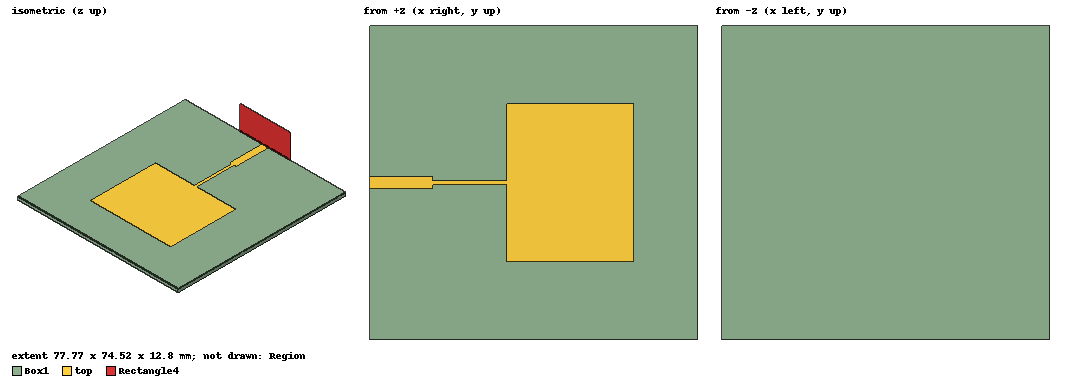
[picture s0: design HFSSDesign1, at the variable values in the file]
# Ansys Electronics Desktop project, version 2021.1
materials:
  vacuum: permittivity=1
  FR4_epoxy: permittivity=4.4 dielectric_loss_tangent=0.02

design HFSSDesign1 (HFSS, DrivenModal, model units mm)
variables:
  l0 = 30.21mm
  l2 = 15mm
  l1 = 17.45mm
  h = 1.6mm
  w0 = 37.26mm
  w1 = 1.16mm
  w2 = 2.98mm
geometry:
  Box1 [FR4_epoxy] = box(corner=(0mm, -w0, 0mm), size=(l1+l2+l0*1.5, w0*2, -h))
  top = rectangle(corner=(0mm, -w2/2, 0mm), x_size=l2, y_size=w2)
  Rectangle2 = rectangle(corner=(l2, -w1/2, 0mm), x_size=l1, y_size=w1)
  Rectangle3 = rectangle(corner=(l1+l2, -w0/2, 0mm), x_size=l0, y_size=w0)
  top.unite(Rectangle2, Rectangle3)
  Rectangle4 = rectangle(corner=(0mm, -4*w2, -h), y_size=w2*8, z_size=h*8)
  Region [vacuum] = region(absolute_offset: +X=30mm, -X=0mm, +Y=30mm, -Y=30mm, +Z=30mm, -Z=0mm)
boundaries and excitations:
  Rad1: Radiation Objects=Region
  PerfE1: Perfect E Objects=top
  PerfE2: Perfect E Faces=Box1.face(-z)
  1: Wave Port Objects=Rectangle4 NumModes=1 Modes{Mode1{IntLine{middle of top.edge(x at corner) -> middle of Rectangle4.edge(z at corner)} CharImp=Zpi RenormImp=50ohm}}
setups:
  Setup1: HfssDriven Frequency=2.45GHz MaxDeltaS=0.02 MaximumPasses=20 MinimumPasses=1 MinimumConvergedPasses=1 PercentRefinement=30 BasisOrder=1 PortAccuracy=2
    sweep Sweep: 2GHz to 3GHz step 0.001GHz; Type=Fast SaveFields
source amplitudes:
  1:1: 1W 0deg
